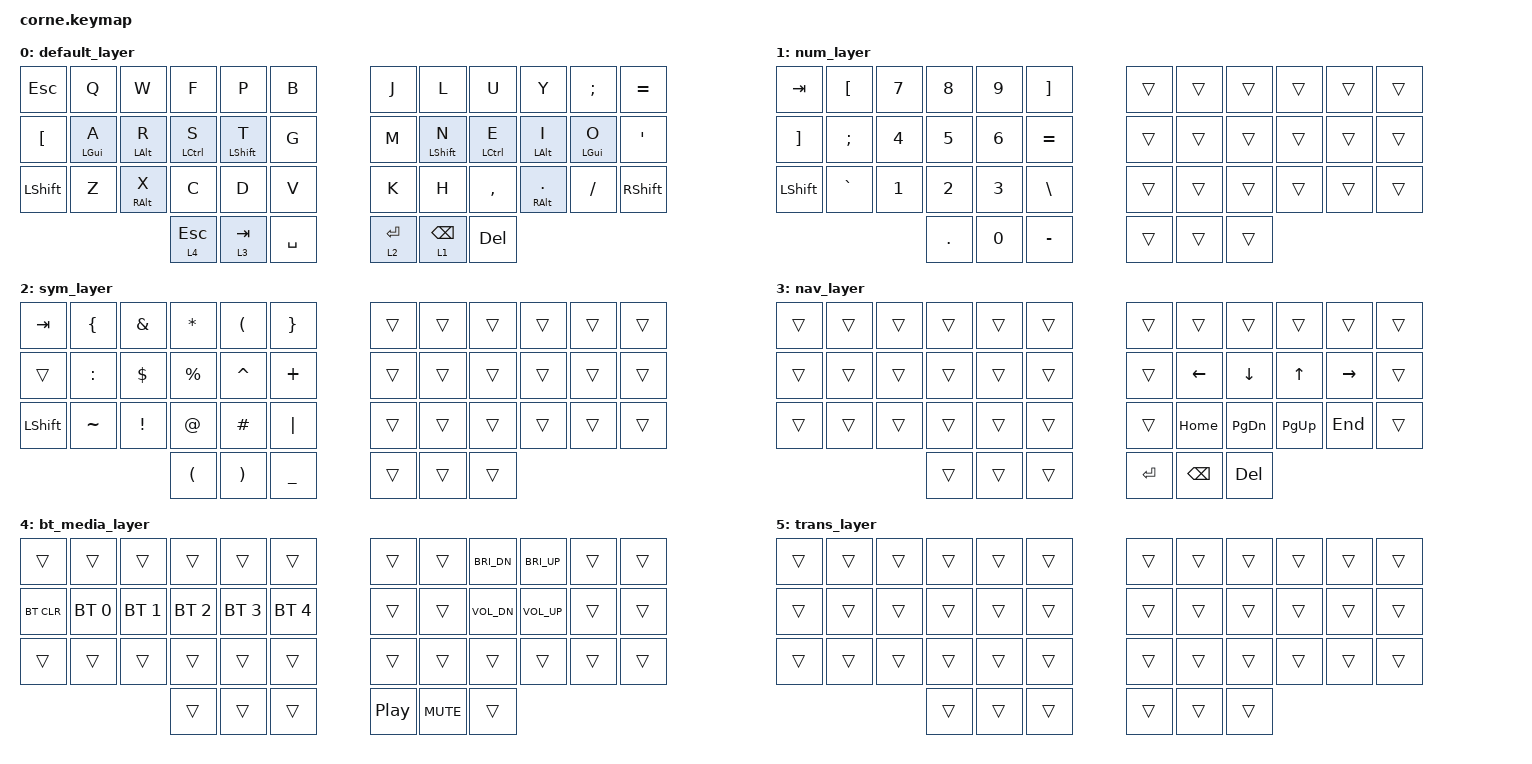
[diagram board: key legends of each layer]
/*
 * Copyright (c) 2020 The ZMK Contributors
 *
 * SPDX-License-Identifier: MIT
 */

#include <behaviors.dtsi>
#include <dt-bindings/zmk/keys.h>
#include <dt-bindings/zmk/bt.h>

#include <dt-bindings/zmk/behaviors.h>

/ {
    behaviors {
        mt: mod_tap {
            compatible = "zmk,behavior-hold-tap";
            #binding-cells = <2>;
            flavor = "balanced";
            tapping-term-ms = <200>;
            bindings = <&kp>, <&kp>;
            display-name = "Mod-Tap";
        };
    };
};


/ {
        keymap {
                compatible = "zmk,keymap";

                default_layer {
// -----------------------------------------------------------------------------------------
// |  TAB |  Q  |  W  |  F  |  P  |  B  |   |  J  |  L   |  U  |  Y  |  ;  | BSPC |
// | CTRL |  A  |  R  |  S  |  T  |  G  |   |  M  |  N   |  E  |  I  |  O  |  '   |
// | SHFT |  Z  |  X  |   C |  D  |  V  |   |  K  |  H   |  ,  |  .  |  /  | SHFT |
//                    | ESC | LWR | RET |   | SPC | RSE  | ESC |
                        bindings = <
   &kp ESC   &kp Q      &kp W      &kp F       &kp P       &kp B   &kp J &kp L       &kp U       &kp Y        &kp SEMI   &kp EQUAL
   &kp LBKT  &mt LGUI A &mt LALT R &mt LCTRL S &mt LSHFT T &kp G   &kp M &mt LSHFT N &mt LCTRL E &mt LALT I   &mt LGUI O &kp SQT
   &kp LSHFT &kp Z      &mt RALT X &kp C       &kp D       &kp V   &kp K &kp H       &kp COMMA   &mt RALT DOT &kp FSLH   &kp RSHFT
                                   &lt 4 ESC &lt 3 TAB &kp SPACE   &lt 2 RET &lt 1 BSPC &kp DEL
                        >;
                };

                num_layer {
                        bindings = <
   &kp TAB   &kp LBKT   &kp N7 &kp N8 &kp N9 &kp RBKT    &trans &trans &trans &trans &trans &trans
   &kp RBKT  &kp SEMI   &kp N4 &kp N5 &kp N6 &kp EQUAL   &trans &trans &trans &trans &trans &trans
   &kp LSHFT &kp GRAVE  &kp N1 &kp N2 &kp N3 &kp BSLH    &trans &trans &trans &trans &trans &trans
                        &kp DOT &kp N0 &kp MINUS         &trans  &trans   &trans
                        >;
                };

                 sym_layer {
                        bindings = <
   &kp TAB   &kp LBRC   &kp AMPS &kp ASTRK &kp LPAR  &kp RBRC   &trans &trans &trans &trans &trans &trans
   &trans    &kp COLON  &kp DLLR &kp PRCNT &kp CARET &kp PLUS   &trans &trans &trans &trans &trans &trans
   &kp LSHFT &kp TILDE  &kp EXCL &kp AT    &kp HASH  &kp PIPE   &trans &trans &trans &trans &trans &trans
                        &kp LPAR &kp RPAR  &kp UNDER            &trans  &trans   &trans
                        >;
                };

                nav_layer {
                        bindings = <
        &trans &trans &trans &trans &trans &trans   &trans &trans   &trans    &trans    &trans  &trans
        &trans &trans &trans &trans &trans &trans   &trans &kp LEFT &kp DOWN  &kp UP    &kp RIGHT  &trans
        &trans &trans &trans &trans &trans &trans   &trans &kp HOME &kp PG_DN &kp PG_UP &kp END &trans
                          &trans  &trans   &trans   &kp RET  &kp BSPC   &kp DEL
                        >;
                };

                bt_media_layer {
                        bindings = <
   &trans     &trans       &trans       &trans       &trans       &trans         &trans &trans &kp C_BRI_DN &kp C_BRI_UP &trans &trans
   &bt BT_CLR &bt BT_SEL 0 &bt BT_SEL 1 &bt BT_SEL 2 &bt BT_SEL 3 &bt BT_SEL 4   &trans &trans &kp C_VOL_DN &kp C_VOL_UP &trans &trans
   &trans     &trans       &trans       &trans       &trans       &trans         &trans &trans &trans       &trans       &trans &trans
                                                        &trans &trans &trans     &kp C_PP &kp C_MUTE &trans
                        >;
                };
                trans_layer {
                        bindings = <
        &trans &trans &trans &trans &trans &trans   &trans &trans &trans &trans &trans &trans
        &trans &trans &trans &trans &trans &trans   &trans &trans &trans &trans &trans &trans
        &trans &trans &trans &trans &trans &trans   &trans &trans &trans &trans &trans &trans
                          &trans  &trans   &trans   &trans  &trans   &trans
                        >;
                };
        };
};
